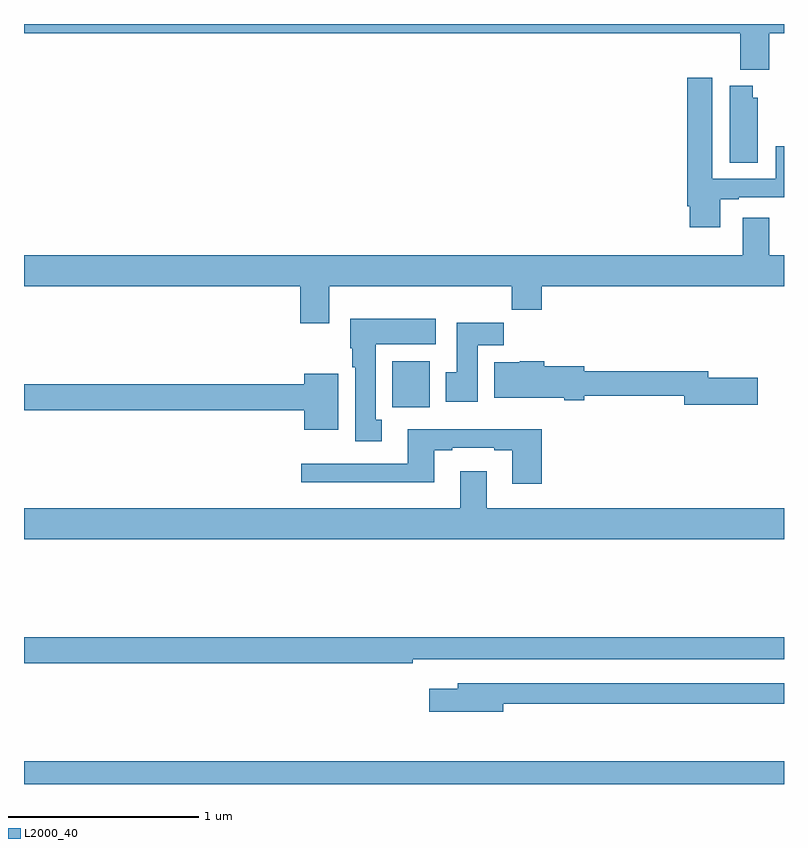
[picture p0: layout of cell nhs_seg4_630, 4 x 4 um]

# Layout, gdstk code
import gdstk
lib = gdstk.Library(unit=1e-6, precision=1e-09)
def R(c, l, rs):  # rectangles x0, y0, x1, y1
    for r in rs: c.add(gdstk.rectangle(r[:2], r[2:], *l))
def P(c, l, *ps):  # polygons
    for p in ps: c.add(gdstk.Polygon(p, *l))
L2000_40 = (2000, 40)

nhs_seg4_630 = lib.new_cell('nhs_seg4_630')
R(nhs_seg4_630, L2000_40, [(143,760.9,147,761.02), (144.938,762.884,145.135,763.126)])
P(nhs_seg4_630, L2000_40, [(146.923,764.852),(147,764.852),(147,764.9),(143,764.9),(143,764.852),(146.771,764.852),(146.771,764.66),(146.923,764.66)],
  [(146.665,763.977),(146.761,763.977),(146.761,763.989),(147,763.989),(147,764.257),(146.957,764.257),(146.957,764.085),(146.623,764.085),(146.623,764.617),(146.492,764.617),(146.492,763.942),(146.504,763.942),(146.504,763.83),(146.665,763.83)],
  [(146.863,764.511),(146.836,764.511),(146.836,764.575),(146.714,764.575),(146.714,764.17),(146.863,764.17)],
  [(144.607,763.52),(145.567,763.52),(145.567,763.396),(145.724,763.396),(145.724,763.52),(147,763.52),(147,763.684),(146.923,763.684),(146.923,763.879),(146.783,763.879),(146.783,763.684),(143,763.684),(143,763.52),(144.455,763.52),(144.455,763.326),(144.607,763.326)],
  [(144.883,762.818),(144.85,762.818),(144.85,763.214),(145.168,763.214),(145.168,763.348),(144.716,763.348),(144.716,763.194),(144.728,763.194),(144.728,763.094),(144.743,763.094),(144.743,762.705),(144.883,762.705)],
  [(145.387,763.208),(145.526,763.208),(145.526,763.327),(145.277,763.327),(145.277,763.068),(145.22,763.068),(145.22,762.912),(145.387,762.912)],
  [(146.863,763.038),(146.602,763.038),(146.602,763.072),(145.948,763.072),(145.948,763.098),(145.739,763.098),(145.739,763.126),(145.608,763.126),(145.608,763.12),(145.475,763.12),(145.475,762.932),(145.844,762.932),(145.844,762.92),(145.948,762.92),(145.948,762.943),(146.474,762.943),(146.474,762.896),(146.863,762.896)],
  [(144.655,763.06),(144.476,763.06),(144.476,763.004),(143,763.004),(143,762.868),(144.476,762.868),(144.476,762.764),(144.655,762.764)],
  [(145.724,762.766),(145.019,762.766),(145.019,762.585),(144.459,762.585),(144.459,762.488),(145.159,762.488),(145.159,762.657),(145.255,762.657),(145.255,762.669),(145.475,762.669),(145.475,762.657),(145.571,762.657),(145.571,762.48),(145.724,762.48)],
  [(147,762.352),(145.435,762.352),(145.435,762.547),(145.295,762.547),(145.295,762.352),(143,762.352),(143,762.188),(147,762.188)],
  [(145.046,761.556),(147,761.556),(147,761.672),(143,761.672),(143,761.536),(145.046,761.536)],
  [(145.522,761.322),(147,761.322),(147,761.43),(145.283,761.43),(145.283,761.401),(145.134,761.401),(145.134,761.279),(145.522,761.279)])

lib.write_gds('nhs_seg4_630.gds')
